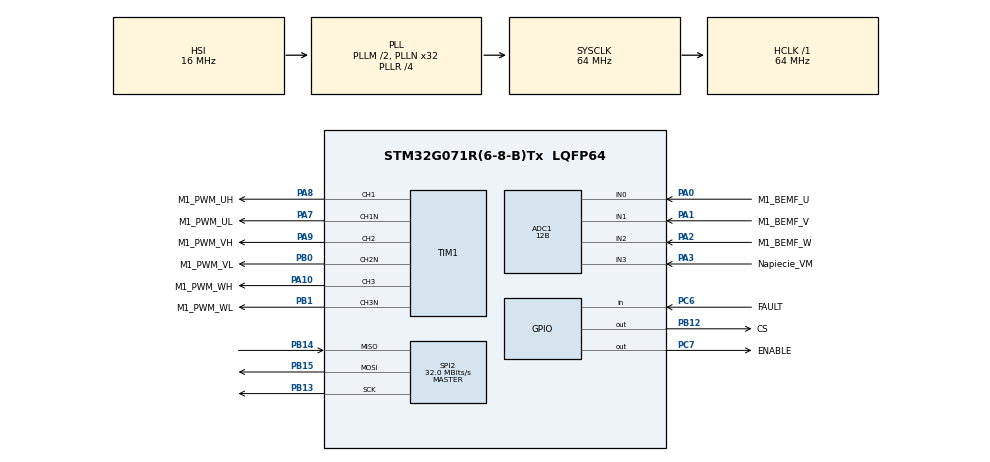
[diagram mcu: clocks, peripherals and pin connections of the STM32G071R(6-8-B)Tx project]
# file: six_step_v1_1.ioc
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ADC1.ClockPrescaler=ADC_CLOCK_ASYNC_DIV1
ADC1.ContinuousConvMode=DISABLE
ADC1.DMAContinuousRequests=DISABLE
ADC1.DataAlign=ADC_DATAALIGN_LEFT
ADC1.DiscontinuousConvMode=DISABLE
ADC1.EOCSelection=ADC_EOC_SINGLE_CONV
ADC1.EnableAnalogWatchDog1=true
ADC1.ExternalTrigConv=ADC_EXTERNALTRIG_T1_TRGO2
ADC1.ExternalTrigConvEdge=ADC_EXTERNALTRIGCONVEDGE_FALLING
ADC1.LowPowerAutoPowerOff=DISABLE
ADC1.LowPowerAutoWait=DISABLE
ADC1.NbrOfConversion=1
ADC1.NbrOfConversionFlag=0
ADC1.Overrun=ADC_OVR_DATA_OVERWRITTEN
ADC1.OversamplingMode=DISABLE
ADC1.Resolution=ADC_RESOLUTION_12B
ADC1.SamplingTimeCommon1=ADC_SAMPLETIME_3CYCLES_5
ADC1.ScanConvMode=ADC_SCAN_SEQ_FIXED
ADC1.SelectedChannel=ADC_CHANNEL_0|ADC_CHANNEL_1|ADC_CHANNEL_2|ADC_CHANNEL_3
ADC1.Sequencer=NOT_FULLY_CONFIGURABLE
ADC1.TriggerFrequencyMode=ADC_TRIGGER_FREQ_HIGH
ADC1.WatchdogMode=ADC_ANALOGWATCHDOG_SINGLE_REG
ADC1.master=1
ExtraMW=MotorControl
ExtraMW.MotorControl.Config=MotorControl
ExtraMW.MotorControl.Mode=MotorControl
ExtraMW.MotorControl.Root=MCSDK_v6.4.2-Full/MotorControl
ExtraMW.MotorControl.Template=templates
Mcu.Family=STM32G0
Mcu.Name=STM32G071R(6-8-B)Tx
Mcu.Package=LQFP64
MotorControl.ADC_REFERENCE_VOLTAGE=3.3
MotorControl.BEMF_ADC_SAMPLING_TIME=3
MotorControl.BEMF_ADC_TRIG_TIME_DPP=921
MotorControl.BEMF_ADC_TRIG_TIME_ON_DPP=256
MotorControl.BEMF_AVERAGING_FIFO_DEPTH=8
MotorControl.BEMF_DIVIDER_AVAILABLE=false
MotorControl.BEMF_ON_SENSING_DIVIDER=15.666667
MotorControl.BEMF_PWM_ON_ENABLE_HYSTERESIS_DPP=51
MotorControl.BEMF_PWM_ON_ENABLE_THRES_DPP=1023
MotorControl.BOARD=NUCLEO-G071RB
MotorControl.BUS_VOLTAGE_READING=true
MotorControl.CCMRAM_ENABLED=false
MotorControl.CLOCK_FREQUENCY=CPU_CLK_64_MHZ
MotorControl.CLOCK_SOURCE=INTERNAL
MotorControl.CPU_CLK_64_MHZ=true
MotorControl.CTLBOARD_NAME=NUCLEO-G071RB
MotorControl.CUBE_MX_VER=6.18.0
MotorControl.DBG_MCU_LOAD_MEASURE=false
MotorControl.DEBUG_DAC_FUNCTIONALITY_EN=false
MotorControl.DP_EMERGENCY_STOP_GPIO_PIN=LL_GPIO_PIN_11
MotorControl.DP_EMERGENCY_STOP_GPIO_PORT=GPIOA
MotorControl.DRIVES_NUMBER_SELECTION=SINGLEDRIVE
MotorControl.DRIVE_MODE=VM
MotorControl.DRIVE_NUMBER=1
MotorControl.DRIVE_TYPE=SIX_STEP
MotorControl.ENCODER_AVAILABLE=false
MotorControl.ENCODER_PPR=400
MotorControl.EXT_CLOCK_FREQUENCY=INT_RC_OSC
MotorControl.FAST_DEMAG=false
MotorControl.FLASH_SIZE=128
MotorControl.HALL_SENSORS_AVAILABLE=false
MotorControl.HIGH_SIDE_IDLE_STATE=false
MotorControl.HWV_DP=SingleErrorTrigger_FixedReference
MotorControl.HWV_PWM=DrivingHighAndLowSides
MotorControl.HW_COMPLEMENTED_LOW_SIDE=false
MotorControl.HW_DEAD_TIME_NS=500
MotorControl.INT_RC_OSC=true
MotorControl.IPs=NVIC,RCC,SYS,MotorControl,TIM1,TIM2,ADC1
MotorControl.LF_TIMER_SELECTION=LF_TIM2
MotorControl.LOW_MEMORY_FOOTPRINT_REG=false
MotorControl.LOW_SIDE_IDLE_STATE=false
MotorControl.LOW_SIDE_SIGNALS_ENABLING=LS_PWM_TIMER
MotorControl.M1_ADC_AWD_FILTER_NUMBER=0
MotorControl.M1_AUXILIARY_SPEED_SENSOR=NONE
MotorControl.M1_BEMF_THRESHOLD_PWM=50
MotorControl.M1_BEMF_THRESHOLD_PWM_HIGH=90
MotorControl.M1_BEMF_THRESHOLD_PWM_LOW=3
MotorControl.M1_BOARD_MAX_CURRENT=8
MotorControl.M1_BUS_VOLTAGE_READING=true
MotorControl.M1_COMPUTATION_DELAY=-2
MotorControl.M1_CURRENT_MONITOR_READING=false
MotorControl.M1_CUR_READING=false
MotorControl.M1_DBG_OPEN_LOOP_ENABLE=false
MotorControl.M1_DC_CURRENT_RS_MEAS=8
MotorControl.M1_DEFAULT_TARGET_SPEED_RPM=1480
MotorControl.M1_DP_BKIN_FILTER=4
MotorControl.M1_DP_BKIN_MODE=EXT_MODE
MotorControl.M1_DP_BKIN_POLARITY=EMSTOP_ACTIVE_LOW
MotorControl.M1_DP_DESTINATION=TIM_BKIN2
MotorControl.M1_DP_TOPOLOGY=EXTERNAL
MotorControl.M1_DRIVE_TYPE=SIX_STEP
MotorControl.M1_ENABLE_SL_ALGO_FROM_PHASE=3
MotorControl.M1_ENCODER_PPR=400
MotorControl.M1_HALL_PHASE_SHIFT=300
MotorControl.M1_HALL_SENSORS_PLACEMENT=DEGREES_120
MotorControl.M1_HIGH_SIDE_IDLE_STATE=false
MotorControl.M1_HW_DEAD_TIME_NS=500
MotorControl.M1_ICL_ENABLED=false
MotorControl.M1_IPD_STARTUP=false
MotorControl.M1_LDLQ_RATIO=1.000
MotorControl.M1_LOW_SIDE_IDLE_STATE=false
MotorControl.M1_LOW_SIDE_SIGNALS_ENABLING=LS_PWM_TIMER
MotorControl.M1_LS=0.00002
MotorControl.M1_MAX_APPLICATION_SPEED=9864
MotorControl.M1_MAX_CONSECUTIVE_BEMF_ERRORS=3
MotorControl.M1_MIN_APPLICATION_SPEED=0
MotorControl.M1_MOTOR_MAX_SPEED_RPM=9864
MotorControl.M1_MOTOR_NAME=A2212 13T
MotorControl.M1_MOTOR_RATED_FLUX=0.005751804
MotorControl.M1_MOTOR_VOLTAGE_CONSTANT=0.8
MotorControl.M1_NB_CONSECUTIVE_TESTS=10
MotorControl.M1_NOMINAL_BUS_VOLTAGE_V=11
MotorControl.M1_OBS_MINIMUM_SPEED_RPM=1480
MotorControl.M1_OCP_TOPOLOGY=NONE
MotorControl.M1_OTF_STARTUP=false
MotorControl.M1_OV_VOLTAGE_PROT_ENABLING=false
MotorControl.M1_PHASE1_DURATION=500
MotorControl.M1_PHASE1_FINAL_SPEED_RPM=0
MotorControl.M1_PHASE1_VOLTAGE_RMS=0.63
MotorControl.M1_PHASE2_DURATION=1000
MotorControl.M1_PHASE2_FINAL_SPEED_RPM=1480
MotorControl.M1_PHASE2_VOLTAGE_RMS=4.41
MotorControl.M1_PHASE3_DURATION=500
MotorControl.M1_PHASE3_FINAL_SPEED_RPM=1480
MotorControl.M1_PHASE3_VOLTAGE_RMS=4.41
MotorControl.M1_PHASE4_DURATION=0
MotorControl.M1_PHASE4_FINAL_SPEED_RPM=0
MotorControl.M1_PHASE4_VOLTAGE_RMS=0.63
MotorControl.M1_PHASE5_DURATION=0
MotorControl.M1_PHASE5_FINAL_SPEED_RPM=0
MotorControl.M1_PHASE5_VOLTAGE_RMS=0.63
MotorControl.M1_PID_SPEED_KD_DEFAULT=0
MotorControl.M1_PID_SPEED_KI_DEFAULT=1
MotorControl.M1_PID_SPEED_KP_DEFAULT=1037
MotorControl.M1_POLE_PAIR_NUM=7
MotorControl.M1_POTENTIOMETER_ENABLE=false
MotorControl.M1_POWERBOARD_NAME=EVLDRIVE102BH
MotorControl.M1_PWM_CHARGE_BOOT_CAP_DUTY_CYCLES=0.000
MotorControl.M1_PWM_CHARGE_BOOT_CAP_MS=0
MotorControl.M1_PWM_DRIVER_PN=STDRIVE102BH
MotorControl.M1_PWM_FREQUENCY=40000
MotorControl.M1_PWM_TIMER_BRK_IRQ=TIM1_BRK_UP_TRG_COM
MotorControl.M1_PWM_TIMER_SELECTION=PWM_TIM1
MotorControl.M1_PWM_TIMER_UP_IRQ=TIM1_BRK_UP_TRG_COM
MotorControl.M1_REGULATION_EXECUTION_RATE=1
MotorControl.M1_RS=0.1
MotorControl.M1_SHARED_SIGNAL_ENABLE=false
MotorControl.M1_SPD_DIFFERENTIAL_TERM_ENABLING=false
MotorControl.M1_SPEED_LOOP_FREQUENCY_HZ=1000
MotorControl.M1_SPEED_SENSOR=SENSORLESS_ADC
MotorControl.M1_SP_KDDIV=16
MotorControl.M1_SP_KIDIV=16384
MotorControl.M1_SP_KPDIV=16384
MotorControl.M1_SS_MEAS_ERRORS_BEFORE_FAULTS=3
MotorControl.M1_STARTING_ANGLE_DEG=0
MotorControl.M1_SW_DEADTIME_NS=350
MotorControl.M1_TEMPERATURE_READING=false
MotorControl.M1_TRANSITION_DURATION=25
MotorControl.M1_UV_VOLTAGE_PROT_ENABLING=false
MotorControl.M1_VBUS_ADC=ADC1
MotorControl.M1_VBUS_ADC_SAMPLING_TIME=39
MotorControl.M1_VBUS_CHANNEL=ADC_CHANNEL_1
MotorControl.M1_VBUS_PARTITIONING_FACTOR=0.4444444444444444
MotorControl.M1_ZCD_FALLING_TO_COMM=30
MotorControl.M1_ZCD_RISING_TO_COMM=30
MotorControl.MCP_EN=false
MotorControl.MCU=STM32G071RB
MotorControl.MCU_FAMILY=STM32G0
MotorControl.MCU_LINE=STM32G0x1
MotorControl.MCU_NAME=STM32G071R(6-8-B)Tx
MotorControl.MCU_PACKAGE=LQFP64
MotorControl.MCU_TYPE=STM32G071RB
MotorControl.MCU_USERNAME=STM32G071RBTx
MotorControl.MC_WORKBENCH_VERSION=6.4.2
MotorControl.MIN_DEMAG_TIME=1
MotorControl.MOTOR_TYPE=PMSM
MotorControl.OV_VOLTAGE_PROT_ENABLING=false
MotorControl.PHASE_UH_GPIO_PIN=LL_GPIO_PIN_8
MotorControl.PHASE_UH_GPIO_PORT=GPIOA
MotorControl.PHASE_UH_POLARITY=H_ACTIVE_HIGH
MotorControl.PHASE_UL_GPIO_PIN=LL_GPIO_PIN_7
MotorControl.PHASE_UL_GPIO_PORT=GPIOA
MotorControl.PHASE_UL_POLARITY=L_ACTIVE_HIGH
MotorControl.PHASE_U_BEMF_ADC=ADC1
MotorControl.PHASE_U_BEMF_CHANNEL=ADC_CHANNEL_9
MotorControl.PHASE_U_BEMF_GPIO_PIN=LL_GPIO_PIN_1
MotorControl.PHASE_U_BEMF_GPIO_PORT=GPIOB
MotorControl.PHASE_U_PWM_CHANNEL=TIM_Channel_1
MotorControl.PHASE_VH_GPIO_PIN=LL_GPIO_PIN_9
MotorControl.PHASE_VH_GPIO_PORT=GPIOA
MotorControl.PHASE_VH_POLARITY=H_ACTIVE_HIGH
MotorControl.PHASE_VL_GPIO_PIN=LL_GPIO_PIN_3
MotorControl.PHASE_VL_GPIO_PORT=GPIOD
MotorControl.PHASE_VL_POLARITY=L_ACTIVE_HIGH
MotorControl.PHASE_V_BEMF_ADC=ADC1
MotorControl.PHASE_V_BEMF_CHANNEL=ADC_CHANNEL_2
MotorControl.PHASE_V_BEMF_GPIO_PIN=LL_GPIO_PIN_2
MotorControl.PHASE_V_BEMF_GPIO_PORT=GPIOA
MotorControl.PHASE_V_PWM_CHANNEL=TIM_Channel_2
MotorControl.PHASE_WH_GPIO_PIN=LL_GPIO_PIN_10
MotorControl.PHASE_WH_GPIO_PORT=GPIOA
MotorControl.PHASE_WH_POLARITY=H_ACTIVE_HIGH
MotorControl.PHASE_WL_GPIO_PIN=LL_GPIO_PIN_4
MotorControl.PHASE_WL_GPIO_PORT=GPIOD
MotorControl.PHASE_WL_POLARITY=L_ACTIVE_HIGH
MotorControl.PHASE_W_BEMF_ADC=ADC1
MotorControl.PHASE_W_BEMF_CHANNEL=ADC_CHANNEL_3
MotorControl.PHASE_W_BEMF_GPIO_PIN=LL_GPIO_PIN_3
MotorControl.PHASE_W_BEMF_GPIO_PORT=GPIOA
MotorControl.PHASE_W_PWM_CHANNEL=TIM_Channel_3
MotorControl.POTENTIOMETER_READING=false
MotorControl.PWM_FREQUENCY=40000
MotorControl.PWM_TIMER_SELECTION=PWM_TIM1
MotorControl.QUASI_SYNC=false
MotorControl.REGULATION_EXECUTION_RATE=1
MotorControl.RUN_DEMAG_TIME=20
MotorControl.SENSORLESS_ADC=true
MotorControl.SINGLEDRIVE=true
MotorControl.SPD_DIFFERENTIAL_TERM_ENABLING=false
MotorControl.SPEED_SENSOR_SELECTION=SENSORLESS_ADC
MotorControl.SPEED_THRESHOLD_DEMAG=4932
MotorControl.STARTUP_DEMAG_TIME=20
MotorControl.START_STOP_BTN=false
MotorControl.STM32G071RB=true
MotorControl.SW_DEADTIME_NS=350
MotorControl.TEMPERATURE_READING=false
MotorControl.TFDIFFERENTIAL_TERM_ENABLING=false
MotorControl.UV_VOLTAGE_PROT_ENABLING=false
MotorControl.VBUS_ADC=ADC1
MotorControl.VBUS_ADC_SAMPLING_TIME=39
MotorControl.VBUS_CHANNEL=ADC_CHANNEL_1
MotorControl.VBUS_GPIO_PIN=LL_GPIO_PIN_1
MotorControl.VBUS_GPIO_PORT=GPIOA
MotorControl.WB_MX_ADC_AWD_FILTER_NUMBER=NONE
MotorControl.WB_MX_HEAPSIZE=0x200
MotorControl.WB_MX_PHASE_U_BEMF_ADC_IRQ=ADC1_COMP
MotorControl.WB_MX_PHASE_V_BEMF_ADC_IRQ=ADC1_COMP
MotorControl.WB_MX_PHASE_W_BEMF_ADC_IRQ=ADC1_COMP
MotorControl.WB_MX_STACKSIZE=0x400
MotorControl.WB_MX_TRUSTZONE_AVAILABLE=false
MotorControl.WB_UI_DP_DISABLING_ENABLE=false
MotorControl.WB_UI_ENCODER_HAS_INDEX_PIN=false
MotorControl.WB_UI_FRICTION=0.49
MotorControl.WB_UI_INERTIA=0.55
MotorControl.WB_UI_MAGNETIC_STRUCTURE=SM-PMSM
MotorControl.WB_UI_MAX_CURRENT=10
MotorControl.WB_UI_MAX_NOMINAL_DC_VOLTAGE=11.045
MotorControl.WB_UI_MAX_PWMFREQUENCY=100000
MotorControl.WB_UI_MOTOR_DESCRIPTION=A2212 1000KV Brushless Outrunner Motor 13T
MotorControl.WB_UI_PWM_ON_SENSING=false
MotorControl.WB_UI_PW_BOARD_MAX_RATED_CURRENT=25
MotorControl.WB_UI_PW_BOARD_MAX_VOLTAGE=50
MotorControl.WB_UI_PW_BOARD_MIN_VOLTAGE=6
MotorControl.WB_to_Mx_template_version=25-05-06
MotorControl.WB_to_Mx_version=6.4.2
NVIC.ADC1_COMP_IRQn=true\:0\:0\:true\:true\:false\:3\:true\:true\:true
NVIC.TIM1_BRK_UP_TRG_COM_IRQn=true\:0\:0\:false\:false\:true\:true\:true\:true
NVIC.TIM2_IRQn=true\:0\:0\:true\:true\:false\:1\:true\:true\:true
PA0.GPIO_Label=M1_BEMF_U
PA0.Mode=IN0
PA0.Signal=ADC1_IN0
PA1.GPIO_Label=M1_BEMF_V
PA1.Mode=IN1
PA1.Signal=ADC1_IN1
PA10.GPIO_Label=M1_PWM_WH
PA10.GPIO_PuPd=GPIO_PULLDOWN
PA10.GPIO_Speed=GPIO_SPEED_FREQ_HIGH
PA10.Signal=S_TIM1_CH3
PA13.Mode=Serial_Wire
PA13.Signal=SYS_SWDIO
PA14-BOOT0.Mode=Serial_Wire
PA14-BOOT0.Signal=SYS_SWCLK
PA2.GPIO_Label=M1_BEMF_W
PA2.Mode=IN2
PA2.Signal=ADC1_IN2
PA3.GPIO_Label=Napiecie_VM
PA3.Mode=IN3
PA3.Signal=ADC1_IN3
PA7.GPIO_Label=M1_PWM_UL
PA7.GPIO_PuPd=GPIO_PULLDOWN
PA7.GPIO_Speed=GPIO_SPEED_FREQ_HIGH
PA7.Mode=PWM Generation1 CH1 CH1N
PA7.Signal=TIM1_CH1N
PA8.GPIO_Label=M1_PWM_UH
PA8.GPIO_PuPd=GPIO_PULLDOWN
PA8.GPIO_Speed=GPIO_SPEED_FREQ_HIGH
PA8.Signal=S_TIM1_CH1
PA9.GPIO_Label=M1_PWM_VH
PA9.GPIO_PuPd=GPIO_PULLDOWN
PA9.GPIO_Speed=GPIO_SPEED_FREQ_HIGH
PA9.Signal=S_TIM1_CH2
PB0.GPIO_Label=M1_PWM_VL
PB0.GPIO_PuPd=GPIO_PULLDOWN
PB0.GPIO_Speed=GPIO_SPEED_FREQ_HIGH
PB0.Mode=PWM Generation2 CH2 CH2N
PB0.Signal=TIM1_CH2N
PB1.GPIO_Label=M1_PWM_WL
PB1.GPIO_PuPd=GPIO_PULLDOWN
PB1.GPIO_Speed=GPIO_SPEED_FREQ_HIGH
PB1.Mode=PWM Generation3 CH3 CH3N
PB1.Signal=TIM1_CH3N
PB12.GPIO_Label=CS
PB12.PinState=GPIO_PIN_SET
PB12.Signal=GPIO_Output
PB13.Mode=Full_Duplex_Master
PB13.Signal=SPI2_SCK
PB14.Mode=Full_Duplex_Master
PB14.Signal=SPI2_MISO
PB15.Mode=Full_Duplex_Master
PB15.Signal=SPI2_MOSI
PC6.GPIO_Label=FAULT
PC6.Signal=GPIO_Input
PC7.GPIO_Label=ENABLE
PC7.PinState=GPIO_PIN_SET
PC7.Signal=GPIO_Output
ProjectManager.HeapSize=0x200
ProjectManager.StackSize=0x400
ProjectManager.TargetToolchain=STM32CubeIDE
RCC.ADCCLockSelection=RCC_ADCCLKSOURCE_PLLADC
RCC.ADCFreq_Value=32000000
RCC.AHBFreq_Value=64000000
RCC.CortexFreq_Value=64000000
RCC.EXTERNAL_CLOCK_VALUE=48000
RCC.HCLKFreq_Value=64000000
RCC.HSE_VALUE=8000000
RCC.HSI_VALUE=16000000
RCC.LSE_VALUE=32768
RCC.PLLM=RCC_PLLM_DIV2
RCC.PLLN=32
RCC.PLLP=RCC_PLLP_DIV8
RCC.PLLQ=RCC_PLLQ_DIV2
RCC.PLLR=RCC_PLLR_DIV4
RCC.PLLSourceVirtual=RCC_PLLSOURCE_HSI
RCC.PREFETCH_ENABLE=1
RCC.SYSCLKFreq_VALUE=64000000
RCC.SYSCLKSource=RCC_SYSCLKSOURCE_PLLCLK
RCC.TIM1CLockSelectionVirtual=RCC_TIM1CLKSOURCE_PLL
RCC.VCOOutputFreq_Value=256000000
SH.S_TIM1_CH1.0=TIM1_CH1,PWM Generation1 CH1 CH1N
SH.S_TIM1_CH2.0=TIM1_CH2,PWM Generation2 CH2 CH2N
SH.S_TIM1_CH3.0=TIM1_CH3,PWM Generation3 CH3 CH3N
SPI2.CLKPhase=SPI_PHASE_2EDGE
SPI2.CalculateBaudRate=32.0 MBits/s
SPI2.DataSize=SPI_DATASIZE_8BIT
SPI2.Direction=SPI_DIRECTION_2LINES
SPI2.Mode=SPI_MODE_MASTER
SPI2.VirtualType=VM_MASTER
TIM1.AutoReloadPreload=TIM_AUTORELOAD_PRELOAD_DISABLE
TIM1.AutomaticOutput=TIM_AUTOMATICOUTPUT_DISABLE
TIM1.Break2Filter=4
TIM1.Break2Polarity=TIM_BREAK2POLARITY_HIGH
TIM1.Break2State=TIM_BREAK2_ENABLE
TIM1.BreakFilter=0
TIM1.BreakPolarity=TIM_BREAKPOLARITY_HIGH
TIM1.BreakState=TIM_BREAK_DISABLE
TIM1.Channel-PWM\ Generation1\ CH1\ CH1N=TIM_CHANNEL_1
TIM1.Channel-PWM\ Generation2\ CH2\ CH2N=TIM_CHANNEL_2
TIM1.Channel-PWM\ Generation3\ CH3\ CH3N=TIM_CHANNEL_3
TIM1.Channel-PWM\ Generation4\ No\ Output=TIM_CHANNEL_4
TIM1.ClearInputSource=TIM_CLEARINPUTSOURCE_NONE
TIM1.ClockDivision=TIM_CLOCKDIVISION_DIV1
TIM1.CounterMode=TIM_COUNTERMODE_UP
TIM1.DeadTime=((DEAD_TIME_COUNTS) / 2)
TIM1.LockLevel=TIM_LOCKLEVEL_OFF
TIM1.OC1Preload_PWM=ENABLE
TIM1.OC2Preload_PWM=ENABLE
TIM1.OC3Preload_PWM=ENABLE
TIM1.OC4Preload_PWM=ENABLE
TIM1.OCIdleState_1=TIM_OCIDLESTATE_RESET
TIM1.OCIdleState_2=TIM_OCIDLESTATE_RESET
TIM1.OCIdleState_3=TIM_OCIDLESTATE_RESET
TIM1.OCIdleState_4=TIM_OCIDLESTATE_RESET
TIM1.OCMode_PWM-PWM\ Generation1\ CH1\ CH1N=TIM_OCMODE_PWM1
TIM1.OCMode_PWM-PWM\ Generation2\ CH2\ CH2N=TIM_OCMODE_PWM1
TIM1.OCMode_PWM-PWM\ Generation3\ CH3\ CH3N=TIM_OCMODE_PWM1
TIM1.OCMode_PWM-PWM\ Generation4\ No\ Output=TIM_OCMODE_PWM1
TIM1.OCNIdleState_1=TIM_OCNIDLESTATE_RESET
TIM1.OCNIdleState_2=TIM_OCNIDLESTATE_RESET
TIM1.OCNIdleState_3=TIM_OCNIDLESTATE_RESET
TIM1.OCNPolarity_1=TIM_OCNPOLARITY_HIGH
TIM1.OCNPolarity_2=TIM_OCNPOLARITY_HIGH
TIM1.OCNPolarity_3=TIM_OCNPOLARITY_HIGH
TIM1.OCPolarity_1=TIM_OCPOLARITY_HIGH
TIM1.OCPolarity_2=TIM_OCPOLARITY_HIGH
TIM1.OCPolarity_3=TIM_OCPOLARITY_HIGH
TIM1.OCPolarity_4=TIM_OCPOLARITY_HIGH
TIM1.OffStateIDLEMode=TIM_OSSI_ENABLE
TIM1.OffStateRunMode=TIM_OSSR_ENABLE
TIM1.Period=(PWM_PERIOD_CYCLES)
TIM1.Prescaler=((TIM_CLOCK_DIVIDER) - 1)
TIM1.RepetitionCounter=(REP_COUNTER)
TIM1.SourceBRK2DigInput=TIM_BREAKINPUTSOURCE_DISABLE
TIM1.SourceBRKDigInput=TIM_BREAKINPUTSOURCE_DISABLE
TIM1.TIM_MasterOutputTrigger=TIM_TRGO_RESET
TIM1.TIM_MasterOutputTrigger2=TIM_TRGO2_OC4REF
TIM1.TIM_MasterSlaveMode=TIM_MASTERSLAVEMODE_ENABLE
TIM2.Period=LF_TIMER_ARR
TIM2.Prescaler=LF_TIMER_PSC
TIM2.TIM_MasterOutputTrigger=TIM_TRGO_ENABLE
TIM2.TIM_MasterSlaveMode=TIM_MASTERSLAVEMODE_ENABLE
VP_MotorControl_MC_ENABLED.Mode=SixStep
VP_SYS_VS_DBSignals.Mode=DisableDeadBatterySignals
VP_TIM1_VS_ClockSourceINT.Mode=Internal
VP_TIM1_VS_no_output4.Mode=PWM Generation4 No Output
VP_TIM2_VS_ClockSourceINT.Mode=Internal
board=custom

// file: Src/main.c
/* USER CODE BEGIN Header */
/**
  ******************************************************************************
  * @file           : main.c
  * @brief          : Main program body
  ******************************************************************************
  * @attention
  *
  * Copyright (c) 2026 STMicroelectronics.
  * All rights reserved.
  *
  * This software is licensed under terms that can be found in the LICENSE file
  * in the root directory of this software component.
  * If no LICENSE file comes with this software, it is provided AS-IS.
  *
  ******************************************************************************
  */
/* USER CODE END Header */
#include "main.h"
#include "drv8323.h"

ADC_HandleTypeDef hadc1;

SPI_HandleTypeDef hspi2;

TIM_HandleTypeDef htim1;
TIM_HandleTypeDef htim2;

void SystemClock_Config(void);
static void MX_GPIO_Init(void);
static void MX_ADC1_Init(void);
static void MX_TIM1_Init(void);
static void MX_TIM2_Init(void);
static void MX_SPI2_Init(void);
static void MX_NVIC_Init(void);

int main(void)
{

  /* MCU Configuration--------------------------------------------------------*/

  /* Reset of all peripherals, Initializes the Flash interface and the Systick. */
  HAL_Init();

  /* Configure the system clock */
  SystemClock_Config();

  /* Initialize all configured peripherals */
  MX_GPIO_Init();
  MX_ADC1_Init();
  MX_TIM1_Init();
  MX_TIM2_Init();
  MX_MotorControl_Init();
  MX_SPI2_Init();

  /* Initialize interrupts */
  MX_NVIC_Init();
  /* USER CODE BEGIN 2 */
   HAL_Delay(10);
   volatile uint16_t regDriverCtrl = 0x0;
   volatile uint16_t regFault1     = 0xFFFF;
   volatile uint16_t regFault2     = 0xFFFF;
   volatile uint16_t regGateHS     = 0b0000001111111111;
   volatile uint16_t regGateLS     = 0b0000010011111111;
   volatile uint16_t regOCPCtrl     = 0b0000000101011001;
   volatile uint16_t regCSACtrl     = 0b0000001010000011;
   volatile GPIO_PinState faultPinState;
   volatile MCI_State_t debug_state;

   DRV8323_WriteReg(DRV8323_REG_DRIVER_CTRL, regDriverCtrl);
   DRV8323_WriteReg(DRV8323_REG_GATE_HS, regGateHS);
   DRV8323_WriteReg(DRV8323_REG_GATE_LS, regGateLS);
   DRV8323_WriteReg(DRV8323_REG_OCP_CTRL, regOCPCtrl);
   DRV8323_WriteReg(DRV8323_REG_CSA_CTRL, regCSACtrl);
   regDriverCtrl = 0xFFFF;
   regFault1     = 0xFFFF;
   regFault2     = 0xFFFF;
   regGateHS     = 0xFFFF;
   regGateLS     = 0xFFFF;
   regOCPCtrl     = 0xFFFF;
   regCSACtrl     = 0xFFFF;
   regDriverCtrl = DRV8323_ReadReg(DRV8323_REG_DRIVER_CTRL);
   regFault1     = DRV8323_ReadReg(DRV8323_REG_FAULT_STATUS1);
   regFault2     = DRV8323_ReadReg(DRV8323_REG_FAULT_STATUS2);
   regGateHS     = DRV8323_ReadReg(DRV8323_REG_GATE_HS);
   regGateLS     = DRV8323_ReadReg(DRV8323_REG_GATE_LS);
   regOCPCtrl     = DRV8323_ReadReg(DRV8323_REG_OCP_CTRL);
   regCSACtrl     = DRV8323_ReadReg(DRV8323_REG_CSA_CTRL);
   volatile bool a = false;
//   faultPinState = HAL_GPIO_ReadPin(FAULT_GPIO_Port, FAULT_Pin);
  /* USER CODE END 2 */

  /* Infinite loop */
  while (1)
  {
   faultPinState = HAL_GPIO_ReadPin(FAULT_GPIO_Port, FAULT_Pin);
   MC_ProgramSpeedRampMotor1(700,0);
   __NOP();
   a = MC_StartMotor1();
   volatile uint16_t g[80];
   volatile uint16_t occurred[80];
   volatile uint16_t current[80];
   HAL_Delay(30000);
   MC_ProgramSpeedRampMotor1(900,10);
  // MC_ProgramSpeedRampMotor1(2000,50);
   //HAL_Delay(600);
  // MC_ProgramSpeedRampMotor1(600,300);
 /*  for (uint8_t i = 0; i < 80; i++){
   HAL_Delay(50);
  g[i] = MC_GetSTMStateMotor1();
  occurred[i] = MC_GetOccurredFaultsMotor1();
  current[i] = MC_GetCurrentFaultsMotor1();
   }*/
   HAL_Delay(30000);
   MC_ProgramSpeedRampMotor1(1000,10);

  // HAL_Delay(30000);
  // MC_ProgramSpeedRampMotor1(1100,10);
   faultPinState = HAL_GPIO_ReadPin(FAULT_GPIO_Port, FAULT_Pin);
   __NOP();
   MC_StopMotor1();

  // g = MC_GetSTMStateMotor1();
  }
}

void SystemClock_Config(void)
{
  RCC_OscInitTypeDef RCC_OscInitStruct = {0};
  RCC_ClkInitTypeDef RCC_ClkInitStruct = {0};

  /** Configure the main internal regulator output voltage
  */
  HAL_PWREx_ControlVoltageScaling(PWR_REGULATOR_VOLTAGE_SCALE1);

  /** Initializes the RCC Oscillators according to the specified parameters
  * in the RCC_OscInitTypeDef structure.
  */
  RCC_OscInitStruct.OscillatorType = RCC_OSCILLATORTYPE_HSI;
  RCC_OscInitStruct.HSIState = RCC_HSI_ON;
  RCC_OscInitStruct.HSIDiv = RCC_HSI_DIV1;
  RCC_OscInitStruct.HSICalibrationValue = RCC_HSICALIBRATION_DEFAULT;
  RCC_OscInitStruct.PLL.PLLState = RCC_PLL_ON;
  RCC_OscInitStruct.PLL.PLLSource = RCC_PLLSOURCE_HSI;
  RCC_OscInitStruct.PLL.PLLM = RCC_PLLM_DIV2;
  RCC_OscInitStruct.PLL.PLLN = 32;
  RCC_OscInitStruct.PLL.PLLP = RCC_PLLP_DIV8;
  RCC_OscInitStruct.PLL.PLLQ = RCC_PLLQ_DIV2;
  RCC_OscInitStruct.PLL.PLLR = RCC_PLLR_DIV4;
  if (HAL_RCC_OscConfig(&RCC_OscInitStruct) != HAL_OK)
  {
    Error_Handler();
  }
  /** Initializes the CPU, AHB and APB buses clocks
  */
  RCC_ClkInitStruct.ClockType = RCC_CLOCKTYPE_HCLK|RCC_CLOCKTYPE_SYSCLK
                              |RCC_CLOCKTYPE_PCLK1;
  RCC_ClkInitStruct.SYSCLKSource = RCC_SYSCLKSOURCE_PLLCLK;
  RCC_ClkInitStruct.AHBCLKDivider = RCC_SYSCLK_DIV1;
  RCC_ClkInitStruct.APB1CLKDivider = RCC_HCLK_DIV1;

  if (HAL_RCC_ClockConfig(&RCC_ClkInitStruct, FLASH_LATENCY_2) != HAL_OK)
  {
    Error_Handler();
  }
}

/**
  * @brief NVIC Configuration.
  * @retval None
  */
static void MX_NVIC_Init(void)
{
  /* TIM2_IRQn interrupt configuration */
  HAL_NVIC_SetPriority(TIM2_IRQn, 0, 0);
  HAL_NVIC_EnableIRQ(TIM2_IRQn);
  /* ADC1_COMP_IRQn interrupt configuration */
  HAL_NVIC_SetPriority(ADC1_COMP_IRQn, 0, 0);
  HAL_NVIC_EnableIRQ(ADC1_COMP_IRQn);
}

static void MX_ADC1_Init(void)
{

  ADC_ChannelConfTypeDef sConfig = {0};
  ADC_AnalogWDGConfTypeDef AnalogWDGConfig = {0};

  /** Configure the global features of the ADC (Clock, Resolution, Data Alignment and number of conversion)
  */
  hadc1.Instance = ADC1;
  hadc1.Init.ClockPrescaler = ADC_CLOCK_ASYNC_DIV1;
  hadc1.Init.Resolution = ADC_RESOLUTION_12B;
  hadc1.Init.DataAlign = ADC_DATAALIGN_LEFT;
  hadc1.Init.ScanConvMode = ADC_SCAN_SEQ_FIXED;
  hadc1.Init.EOCSelection = ADC_EOC_SINGLE_CONV;
  hadc1.Init.LowPowerAutoWait = DISABLE;
  hadc1.Init.LowPowerAutoPowerOff = DISABLE;
  hadc1.Init.ContinuousConvMode = DISABLE;
  hadc1.Init.NbrOfConversion = 1;
  hadc1.Init.DiscontinuousConvMode = DISABLE;
  hadc1.Init.ExternalTrigConv = ADC_EXTERNALTRIG_T1_TRGO2;
  hadc1.Init.ExternalTrigConvEdge = ADC_EXTERNALTRIGCONVEDGE_FALLING;
  hadc1.Init.DMAContinuousRequests = DISABLE;
  hadc1.Init.Overrun = ADC_OVR_DATA_OVERWRITTEN;
  hadc1.Init.SamplingTimeCommon1 = ADC_SAMPLETIME_3CYCLES_5;
  hadc1.Init.OversamplingMode = DISABLE;
  hadc1.Init.TriggerFrequencyMode = ADC_TRIGGER_FREQ_HIGH;
  if (HAL_ADC_Init(&hadc1) != HAL_OK)
  {
    Error_Handler();
  }

  /** Configure Regular Channel
  */
  sConfig.Channel = ADC_CHANNEL_0;
  sConfig.Rank = ADC_RANK_CHANNEL_NUMBER;
  if (HAL_ADC_ConfigChannel(&hadc1, &sConfig) != HAL_OK)
  {
    Error_Handler();
  }

  /** Configure Regular Channel
  */
  sConfig.Channel = ADC_CHANNEL_1;
  if (HAL_ADC_ConfigChannel(&hadc1, &sConfig) != HAL_OK)
  {
    Error_Handler();
  }

  /** Configure Regular Channel
  */
  sConfig.Channel = ADC_CHANNEL_2;
  if (HAL_ADC_ConfigChannel(&hadc1, &sConfig) != HAL_OK)
  {
    Error_Handler();
  }

  /** Configure Regular Channel
  */
  sConfig.Channel = ADC_CHANNEL_3;
  if (HAL_ADC_ConfigChannel(&hadc1, &sConfig) != HAL_OK)
  {
    Error_Handler();
  }

  /** Configure Analog WatchDog 1
  */
  AnalogWDGConfig.WatchdogNumber = ADC_ANALOGWATCHDOG_1;
  AnalogWDGConfig.WatchdogMode = ADC_ANALOGWATCHDOG_SINGLE_REG;
  AnalogWDGConfig.Channel = ADC_CHANNEL_0;
  AnalogWDGConfig.ITMode = DISABLE;
  AnalogWDGConfig.HighThreshold = 0;
  AnalogWDGConfig.LowThreshold = 0;
  if (HAL_ADC_AnalogWDGConfig(&hadc1, &AnalogWDGConfig) != HAL_OK)
  {
    Error_Handler();
  }

}

static void MX_SPI2_Init(void)
{

  /* SPI2 parameter configuration*/
  hspi2.Instance = SPI2;
  hspi2.Init.Mode = SPI_MODE_MASTER;
  hspi2.Init.Direction = SPI_DIRECTION_2LINES;
  hspi2.Init.DataSize = SPI_DATASIZE_8BIT;
  hspi2.Init.CLKPolarity = SPI_POLARITY_LOW;
  hspi2.Init.CLKPhase = SPI_PHASE_2EDGE;
  hspi2.Init.NSS = SPI_NSS_SOFT;
  hspi2.Init.BaudRatePrescaler = SPI_BAUDRATEPRESCALER_32;
  hspi2.Init.FirstBit = SPI_FIRSTBIT_MSB;
  hspi2.Init.TIMode = SPI_TIMODE_DISABLE;
  hspi2.Init.CRCCalculation = SPI_CRCCALCULATION_DISABLE;
  hspi2.Init.CRCPolynomial = 7;
  hspi2.Init.CRCLength = SPI_CRC_LENGTH_DATASIZE;
  hspi2.Init.NSSPMode = SPI_NSS_PULSE_DISABLE;
  if (HAL_SPI_Init(&hspi2) != HAL_OK)
  {
    Error_Handler();
  }

}

static void MX_TIM1_Init(void)
{

  TIM_ClockConfigTypeDef sClockSourceConfig = {0};
  TIM_MasterConfigTypeDef sMasterConfig = {0};
  TIM_OC_InitTypeDef sConfigOC = {0};
  TIM_BreakDeadTimeConfigTypeDef sBreakDeadTimeConfig = {0};

  htim1.Instance = TIM1;
  htim1.Init.Prescaler = ((TIM_CLOCK_DIVIDER) - 1);
  htim1.Init.CounterMode = TIM_COUNTERMODE_UP;
  htim1.Init.Period = (PWM_PERIOD_CYCLES);
  htim1.Init.ClockDivision = TIM_CLOCKDIVISION_DIV1;
  htim1.Init.RepetitionCounter = (REP_COUNTER);
  htim1.Init.AutoReloadPreload = TIM_AUTORELOAD_PRELOAD_DISABLE;
  if (HAL_TIM_Base_Init(&htim1) != HAL_OK)
  {
    Error_Handler();
  }
  sClockSourceConfig.ClockSource = TIM_CLOCKSOURCE_INTERNAL;
  if (HAL_TIM_ConfigClockSource(&htim1, &sClockSourceConfig) != HAL_OK)
  {
    Error_Handler();
  }
  if (HAL_TIM_PWM_Init(&htim1) != HAL_OK)
  {
    Error_Handler();
  }
  sMasterConfig.MasterOutputTrigger = TIM_TRGO_RESET;
  sMasterConfig.MasterOutputTrigger2 = TIM_TRGO2_OC4REF;
  sMasterConfig.MasterSlaveMode = TIM_MASTERSLAVEMODE_ENABLE;
  if (HAL_TIMEx_MasterConfigSynchronization(&htim1, &sMasterConfig) != HAL_OK)
  {
    Error_Handler();
  }
  sConfigOC.OCMode = TIM_OCMODE_PWM1;
  sConfigOC.Pulse = 0;
  sConfigOC.OCPolarity = TIM_OCPOLARITY_HIGH;
  sConfigOC.OCNPolarity = TIM_OCNPOLARITY_HIGH;
  sConfigOC.OCFastMode = TIM_OCFAST_DISABLE;
  sConfigOC.OCIdleState = TIM_OCIDLESTATE_RESET;
  sConfigOC.OCNIdleState = TIM_OCNIDLESTATE_RESET;
  if (HAL_TIM_PWM_ConfigChannel(&htim1, &sConfigOC, TIM_CHANNEL_1) != HAL_OK)
  {
    Error_Handler();
  }
  if (HAL_TIM_PWM_ConfigChannel(&htim1, &sConfigOC, TIM_CHANNEL_2) != HAL_OK)
  {
    Error_Handler();
  }
  if (HAL_TIM_PWM_ConfigChannel(&htim1, &sConfigOC, TIM_CHANNEL_3) != HAL_OK)
  {
    Error_Handler();
  }
  if (HAL_TIM_PWM_ConfigChannel(&htim1, &sConfigOC, TIM_CHANNEL_4) != HAL_OK)
  {
    Error_Handler();
  }
  sBreakDeadTimeConfig.OffStateRunMode = TIM_OSSR_ENABLE;
  sBreakDeadTimeConfig.OffStateIDLEMode = TIM_OSSI_ENABLE;
  sBreakDeadTimeConfig.LockLevel = TIM_LOCKLEVEL_OFF;
  sBreakDeadTimeConfig.DeadTime = ((DEAD_TIME_COUNTS) / 2);
  sBreakDeadTimeConfig.BreakState = TIM_BREAK_DISABLE;
  sBreakDeadTimeConfig.BreakPolarity = TIM_BREAKPOLARITY_HIGH;
  sBreakDeadTimeConfig.BreakFilter = 0;
  sBreakDeadTimeConfig.BreakAFMode = TIM_BREAK_AFMODE_INPUT;
  sBreakDeadTimeConfig.Break2State = TIM_BREAK2_DISABLE;
  sBreakDeadTimeConfig.Break2Polarity = TIM_BREAK2POLARITY_HIGH;
  sBreakDeadTimeConfig.Break2Filter = 4;
  sBreakDeadTimeConfig.Break2AFMode = TIM_BREAK_AFMODE_INPUT;
  sBreakDeadTimeConfig.AutomaticOutput = TIM_AUTOMATICOUTPUT_DISABLE;
  if (HAL_TIMEx_ConfigBreakDeadTime(&htim1, &sBreakDeadTimeConfig) != HAL_OK)
  {
    Error_Handler();
  }
  HAL_TIM_MspPostInit(&htim1);

}

static void MX_TIM2_Init(void)
{

  TIM_ClockConfigTypeDef sClockSourceConfig = {0};
  TIM_MasterConfigTypeDef sMasterConfig = {0};

  htim2.Instance = TIM2;
  htim2.Init.Prescaler = LF_TIMER_PSC;
  htim2.Init.CounterMode = TIM_COUNTERMODE_UP;
  htim2.Init.Period = LF_TIMER_ARR;
  htim2.Init.ClockDivision = TIM_CLOCKDIVISION_DIV1;
  htim2.Init.AutoReloadPreload = TIM_AUTORELOAD_PRELOAD_DISABLE;
  if (HAL_TIM_Base_Init(&htim2) != HAL_OK)
  {
    Error_Handler();
  }
  sClockSourceConfig.ClockSource = TIM_CLOCKSOURCE_INTERNAL;
  if (HAL_TIM_ConfigClockSource(&htim2, &sClockSourceConfig) != HAL_OK)
  {
    Error_Handler();
  }
  sMasterConfig.MasterOutputTrigger = TIM_TRGO_ENABLE;
  sMasterConfig.MasterSlaveMode = TIM_MASTERSLAVEMODE_ENABLE;
  if (HAL_TIMEx_MasterConfigSynchronization(&htim2, &sMasterConfig) != HAL_OK)
  {
    Error_Handler();
  }

}

static void MX_GPIO_Init(void)
{
  GPIO_InitTypeDef GPIO_InitStruct = {0};

  /* GPIO Ports Clock Enable */
  __HAL_RCC_GPIOA_CLK_ENABLE();
  __HAL_RCC_GPIOB_CLK_ENABLE();
  __HAL_RCC_GPIOC_CLK_ENABLE();

  /*Configure GPIO pin Output Level */
  HAL_GPIO_WritePin(CS_GPIO_Port, CS_Pin, GPIO_PIN_SET);

  /*Configure GPIO pin Output Level */
  HAL_GPIO_WritePin(ENABLE_GPIO_Port, ENABLE_Pin, GPIO_PIN_SET);

  /*Configure GPIO pin : CS_Pin */
  GPIO_InitStruct.Pin = CS_Pin;
  GPIO_InitStruct.Mode = GPIO_MODE_OUTPUT_PP;
  GPIO_InitStruct.Pull = GPIO_NOPULL;
  GPIO_InitStruct.Speed = GPIO_SPEED_FREQ_LOW;
  HAL_GPIO_Init(CS_GPIO_Port, &GPIO_InitStruct);

  /*Configure GPIO pin : FAULT_Pin */
  GPIO_InitStruct.Pin = FAULT_Pin;
  GPIO_InitStruct.Mode = GPIO_MODE_INPUT;
  GPIO_InitStruct.Pull = GPIO_NOPULL;
  HAL_GPIO_Init(FAULT_GPIO_Port, &GPIO_InitStruct);

  /*Configure GPIO pin : ENABLE_Pin */
  GPIO_InitStruct.Pin = ENABLE_Pin;
  GPIO_InitStruct.Mode = GPIO_MODE_OUTPUT_PP;
  GPIO_InitStruct.Pull = GPIO_NOPULL;
  GPIO_InitStruct.Speed = GPIO_SPEED_FREQ_LOW;
  HAL_GPIO_Init(ENABLE_GPIO_Port, &GPIO_InitStruct);

}

void Error_Handler(void)
{
  __disable_irq();
  while (1)
  {
  }
}
